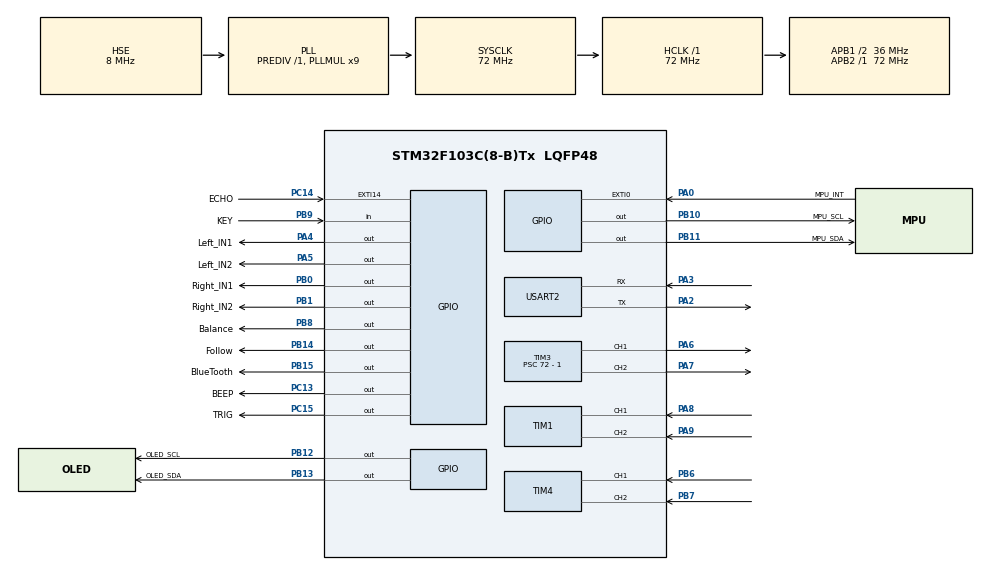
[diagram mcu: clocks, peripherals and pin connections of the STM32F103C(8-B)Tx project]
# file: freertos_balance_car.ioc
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FREERTOS.Tasks01=defaultTask,0,128,StartDefaultTask,Default,NULL,Dynamic,NULL,NULL
Mcu.Family=STM32F1
Mcu.Name=STM32F103C(8-B)Tx
Mcu.Package=LQFP48
NVIC.EXTI15_10_IRQn=true\:5\:0\:false\:false\:true\:true\:true\:true\:true
NVIC.PriorityGroup=NVIC_PRIORITYGROUP_4
NVIC.USART2_IRQn=true\:5\:0\:true\:false\:true\:true\:true\:true\:true
PA0-WKUP.GPIO_Label=MPU_INT
PA0-WKUP.GPIO_PuPd=GPIO_PULLUP
PA0-WKUP.Signal=GPXTI0
PA13.Mode=Serial_Wire
PA13.Signal=SYS_JTMS-SWDIO
PA14.Mode=Serial_Wire
PA14.Signal=SYS_JTCK-SWCLK
PA2.Mode=Asynchronous
PA2.Signal=USART2_TX
PA3.Mode=Asynchronous
PA3.Signal=USART2_RX
PA4.GPIO_Label=Left_IN1
PA4.Signal=GPIO_Output
PA5.GPIO_Label=Left_IN2
PA5.Signal=GPIO_Output
PA6.Signal=S_TIM3_CH1
PA7.Signal=S_TIM3_CH2
PA8.GPIO_PuPd=GPIO_PULLUP
PA8.Signal=S_TIM1_CH1
PA9.GPIO_PuPd=GPIO_PULLUP
PA9.Signal=S_TIM1_CH2
PB0.GPIO_Label=Right_IN1
PB0.Signal=GPIO_Output
PB1.GPIO_Label=Right_IN2
PB1.Signal=GPIO_Output
PB10.GPIO_Label=MPU_SCL
PB10.GPIO_ModeDefaultOutputPP=GPIO_MODE_OUTPUT_PP
PB10.GPIO_PuPd=GPIO_NOPULL
PB10.Signal=GPIO_Output
PB11.GPIO_Label=MPU_SDA
PB11.GPIO_ModeDefaultOutputPP=GPIO_MODE_OUTPUT_PP
PB11.GPIO_PuPd=GPIO_NOPULL
PB11.Signal=GPIO_Output
PB12.GPIO_Label=OLED_SCL
PB12.GPIO_ModeDefaultOutputPP=GPIO_MODE_OUTPUT_PP
PB12.GPIO_PuPd=GPIO_NOPULL
PB12.Signal=GPIO_Output
PB13.GPIO_Label=OLED_SDA
PB13.GPIO_ModeDefaultOutputPP=GPIO_MODE_OUTPUT_PP
PB13.GPIO_PuPd=GPIO_NOPULL
PB13.Signal=GPIO_Output
PB14.GPIO_Label=Follow
PB14.Signal=GPIO_Output
PB15.GPIO_Label=BlueTooth
PB15.Signal=GPIO_Output
PB6.GPIO_PuPd=GPIO_PULLUP
PB6.Signal=S_TIM4_CH1
PB7.GPIO_PuPd=GPIO_PULLUP
PB7.Signal=S_TIM4_CH2
PB8.GPIO_Label=Balance
PB8.Signal=GPIO_Output
PB9.GPIO_Label=KEY
PB9.GPIO_PuPd=GPIO_PULLUP
PB9.Signal=GPIO_Input
PC13-TAMPER-RTC.GPIO_Label=BEEP
PC13-TAMPER-RTC.Signal=GPIO_Output
PC14-OSC32_IN.GPIO_Label=ECHO
PC14-OSC32_IN.GPIO_ModeDefaultEXTI=GPIO_MODE_IT_RISING_FALLING
PC14-OSC32_IN.Signal=GPXTI14
PC15-OSC32_OUT.GPIO_Label=TRIG
PC15-OSC32_OUT.GPIO_PuPd=GPIO_NOPULL
PC15-OSC32_OUT.GPIO_Speed=GPIO_SPEED_FREQ_HIGH
PC15-OSC32_OUT.Signal=GPIO_Output
PD0-OSC_IN.Mode=HSE-External-Oscillator
PD0-OSC_IN.Signal=RCC_OSC_IN
PD1-OSC_OUT.Mode=HSE-External-Oscillator
PD1-OSC_OUT.Signal=RCC_OSC_OUT
ProjectManager.HeapSize=0x1000
ProjectManager.StackSize=0x400
ProjectManager.TargetToolchain=CMake
RCC.AHBFreq_Value=72000000
RCC.APB1CLKDivider=RCC_HCLK_DIV2
RCC.APB1Freq_Value=36000000
RCC.APB1TimFreq_Value=72000000
RCC.APB2Freq_Value=72000000
RCC.APB2TimFreq_Value=72000000
RCC.HCLKFreq_Value=72000000
RCC.PLLMUL=RCC_PLL_MUL9
RCC.PLLSourceVirtual=RCC_PLLSOURCE_HSE
RCC.SYSCLKFreq_VALUE=72000000
RCC.SYSCLKSource=RCC_SYSCLKSOURCE_PLLCLK
RCC.USBFreq_Value=72000000
SH.S_TIM1_CH1.0=TIM1_CH1,Encoder_Interface
SH.S_TIM1_CH2.0=TIM1_CH2,Encoder_Interface
SH.S_TIM3_CH1.0=TIM3_CH1,PWM Generation1 CH1
SH.S_TIM3_CH2.0=TIM3_CH2,PWM Generation2 CH2
SH.S_TIM4_CH1.0=TIM4_CH1,Encoder_Interface
SH.S_TIM4_CH2.0=TIM4_CH2,Encoder_Interface
TIM1.EncoderMode=TIM_ENCODERMODE_TI12
TIM1.IC1Filter=8
TIM1.IC2Filter=8
TIM2.AutoReloadPreload=TIM_AUTORELOAD_PRELOAD_ENABLE
TIM2.Period=65535
TIM2.Prescaler=71
TIM3.AutoReloadPreload=TIM_AUTORELOAD_PRELOAD_DISABLE
TIM3.Channel-PWM\ Generation1\ CH1=TIM_CHANNEL_1
TIM3.Channel-PWM\ Generation2\ CH2=TIM_CHANNEL_2
TIM3.Period=3600-1
TIM3.Prescaler=72 - 1
TIM4.EncoderMode=TIM_ENCODERMODE_TI12
TIM4.IC1Filter=4
TIM4.IC2Filter=4
USART2.VirtualMode=VM_ASYNC
VP_FREERTOS_VS_CMSIS_V1.Mode=CMSIS_V1
VP_TIM2_VS_ClockSourceINT.Mode=Internal
board=custom

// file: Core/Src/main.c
/* USER CODE BEGIN Header */
/**
  ******************************************************************************
  * @file           : main.c
  * @brief          : Main program body
  ******************************************************************************
  * @attention
  *
  * Copyright (c) 2025 STMicroelectronics.
  * All rights reserved.
  *
  * This software is licensed under terms that can be found in the LICENSE file
  * in the root directory of this software component.
  * If no LICENSE file comes with this software, it is provided AS-IS.
  *
  ******************************************************************************
  */
/* USER CODE END Header */
#include "main.h"
#include "cmsis_os.h"
#include "tim.h"
#include "usart.h"
#include "gpio.h"

/* USER CODE BEGIN Includes */
#include "headfile.h"
/* USER CODE END Includes */

void SystemClock_Config(void);
void MX_FREERTOS_Init(void);

/* USER CODE BEGIN 0 */
volatile uint8_t mpu_data_flag = 0;

/* USER CODE END 0 */

int main(void)
{

  /* MCU Configuration--------------------------------------------------------*/

  /* Reset of all peripherals, Initializes the Flash interface and the Systick. */
  HAL_Init();

  /* Configure the system clock */
  SystemClock_Config();

  /* Initialize all configured peripherals */
  MX_GPIO_Init();
  MX_TIM1_Init();
  MX_TIM2_Init();
  MX_TIM3_Init();
  MX_TIM4_Init();
  MX_USART2_UART_Init();
  /* USER CODE BEGIN 2 */
  System_Init();

  /* USER CODE END 2 */

  /* Call init function for freertos objects (in cmsis_os2.c) */
  MX_FREERTOS_Init();

  /* Start scheduler */
  osKernelStart();

  /* We should never get here as control is now taken by the scheduler */

  /* Infinite loop */
  while (1)
  {

  }
}

void SystemClock_Config(void)
{
  RCC_OscInitTypeDef RCC_OscInitStruct = {0};
  RCC_ClkInitTypeDef RCC_ClkInitStruct = {0};

  /** Initializes the RCC Oscillators according to the specified parameters
  * in the RCC_OscInitTypeDef structure.
  */
  RCC_OscInitStruct.OscillatorType = RCC_OSCILLATORTYPE_HSE;
  RCC_OscInitStruct.HSEState = RCC_HSE_ON;
  RCC_OscInitStruct.HSEPredivValue = RCC_HSE_PREDIV_DIV1;
  RCC_OscInitStruct.HSIState = RCC_HSI_ON;
  RCC_OscInitStruct.PLL.PLLState = RCC_PLL_ON;
  RCC_OscInitStruct.PLL.PLLSource = RCC_PLLSOURCE_HSE;
  RCC_OscInitStruct.PLL.PLLMUL = RCC_PLL_MUL9;
  if (HAL_RCC_OscConfig(&RCC_OscInitStruct) != HAL_OK)
  {
    Error_Handler();
  }

  /** Initializes the CPU, AHB and APB buses clocks
  */
  RCC_ClkInitStruct.ClockType = RCC_CLOCKTYPE_HCLK|RCC_CLOCKTYPE_SYSCLK
                              |RCC_CLOCKTYPE_PCLK1|RCC_CLOCKTYPE_PCLK2;
  RCC_ClkInitStruct.SYSCLKSource = RCC_SYSCLKSOURCE_PLLCLK;
  RCC_ClkInitStruct.AHBCLKDivider = RCC_SYSCLK_DIV1;
  RCC_ClkInitStruct.APB1CLKDivider = RCC_HCLK_DIV2;
  RCC_ClkInitStruct.APB2CLKDivider = RCC_HCLK_DIV1;

  if (HAL_RCC_ClockConfig(&RCC_ClkInitStruct, FLASH_LATENCY_2) != HAL_OK)
  {
    Error_Handler();
  }
}

void Error_Handler(void)
{
  __disable_irq();
  while (1)
  {
  }
}

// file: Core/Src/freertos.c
/* USER CODE BEGIN Header */
/**
  ******************************************************************************
  * File Name          : freertos.c
  * Description        : Code for freertos applications
  ******************************************************************************
  * @attention
  *
  * Copyright (c) 2026 STMicroelectronics.
  * All rights reserved.
  *
  * This software is licensed under terms that can be found in the LICENSE file
  * in the root directory of this software component.
  * If no LICENSE file comes with this software, it is provided AS-IS.
  *
  ******************************************************************************
  */
/* USER CODE END Header */

#include "FreeRTOS.h"
#include "task.h"
#include "main.h"
#include "cmsis_os.h"

/* USER CODE BEGIN Includes */
#include "user_task.h"
/* USER CODE END Includes */

/* USER CODE BEGIN Variables */
osThreadId ctrlTaskHandle;
osThreadId detectTaskHandle;
osThreadId oledTaskHandle;
// 蓝牙接收信号量
osSemaphoreId binSem_UART2Handle;
// 创建 echo 信号量
osSemaphoreId echoSemHandle;

/* USER CODE END Variables */

void StartDefaultTask(void const * argument);

void MX_FREERTOS_Init(void); /* (MISRA C 2004 rule 8.1) */

/* GetIdleTaskMemory prototype (linked to static allocation support) */
void vApplicationGetIdleTaskMemory( StaticTask_t **ppxIdleTaskTCBBuffer, StackType_t **ppxIdleTaskStackBuffer, uint32_t *pulIdleTaskStackSize );

/* USER CODE BEGIN GET_IDLE_TASK_MEMORY */
static StaticTask_t xIdleTaskTCBBuffer;
static StackType_t xIdleStack[configMINIMAL_STACK_SIZE];

void vApplicationGetIdleTaskMemory( StaticTask_t **ppxIdleTaskTCBBuffer, StackType_t **ppxIdleTaskStackBuffer, uint32_t *pulIdleTaskStackSize )
{
  *ppxIdleTaskTCBBuffer = &xIdleTaskTCBBuffer;
  *ppxIdleTaskStackBuffer = &xIdleStack[0];
  *pulIdleTaskStackSize = configMINIMAL_STACK_SIZE;
  /* place for user code */
}
/* USER CODE END GET_IDLE_TASK_MEMORY */

void MX_FREERTOS_Init(void) {

  /* Create the thread(s) */
  /* definition and creation of defaultTask */

  /* USER CODE BEGIN RTOS_THREADS */
  osSemaphoreDef(binSem_UART2);
  binSem_UART2Handle = osSemaphoreCreate(osSemaphore(binSem_UART2), 1);

  osSemaphoreDef(echoSem);
  echoSemHandle = osSemaphoreCreate(osSemaphore(echoSem), 1);

  osThreadDef(CtrlTask, StartCtrlTask, osPriorityRealtime, 0, 256);
  ctrlTaskHandle = osThreadCreate(osThread(CtrlTask), NULL);

  osThreadDef(DetectTask, StartDetectTask, osPriorityHigh, 0, 256);
  detectTaskHandle = osThreadCreate(osThread(DetectTask), NULL);

  osThreadDef(OLEDTask, StartOLEDTask, osPriorityNormal, 0, 512);
  oledTaskHandle = osThreadCreate(osThread(OLEDTask), NULL);

  /* USER CODE END RTOS_THREADS */

}

void StartDefaultTask(void const * argument)
{
  for(;;)
  {
    osDelay(1);
  }
}
